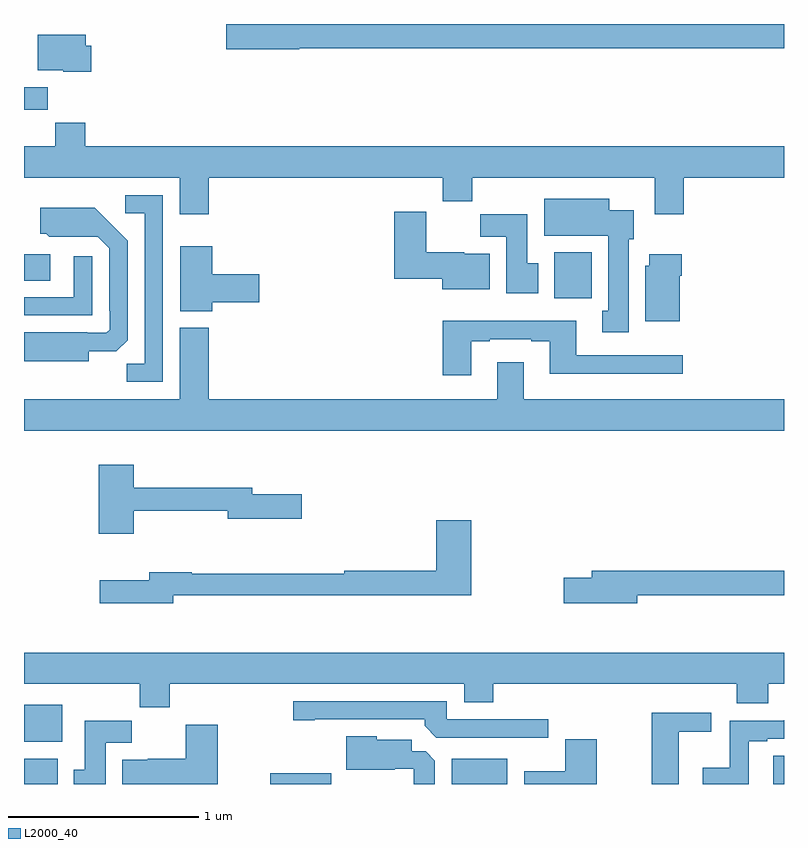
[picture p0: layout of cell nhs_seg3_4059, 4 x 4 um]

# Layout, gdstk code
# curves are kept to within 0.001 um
import gdstk
lib = gdstk.Library(unit=1e-6, precision=1e-09)
def R(c, l, rs):  # rectangles x0, y0, x1, y1
    for r in rs: c.add(gdstk.rectangle(r[:2], r[2:], *l))
def P(c, l, *ps):  # polygons
    for p in ps: c.add(gdstk.Polygon(p, *l))
L2000_40 = (2000, 40)

nhs_seg3_4059 = lib.new_cell('nhs_seg3_4059')
R(nhs_seg3_4059, L2000_40, [(325,688.4,325.177,688.534), (326.297,688.4,326.617,688.456), (327.251,688.4,327.544,688.534), (328.943,688.4,329,688.549), (325,688.622,325.201,688.816), (327.791,690.956,327.988,691.198), (325,691.048,325.138,691.188), (325,691.95,325.124,692.068)])
P(nhs_seg3_4059, L2000_40, [(326.448,692.272),(329,692.272),(329,692.4),(326.064,692.4),(326.064,692.267),(326.448,692.267)],
  [(325.355,692.286),(325.324,692.286),(325.324,692.344),(325.073,692.344),(325.073,692.156),(325.206,692.156),(325.206,692.15),(325.355,692.15)],
  [(325.973,691.592),(327.203,691.592),(327.203,691.468),(327.359,691.468),(327.359,691.592),(328.319,691.592),(328.319,691.398),(328.472,691.398),(328.472,691.592),(329,691.592),(329,691.756),(325.322,691.756),(325.322,691.88),(325.165,691.88),(325.165,691.756),(325,691.756),(325,691.592),(325.82,691.592),(325.82,691.398),(325.973,691.398)],
  [(325.731,691.5),(325.533,691.5),(325.533,691.404),(325.635,691.404),(325.635,690.611),(325.54,690.611),(325.54,690.516),(325.731,690.516)],
  [(328.183,691.266),(328.21,691.266),(328.21,691.42),(328.081,691.42),(328.081,691.48),(327.737,691.48),(327.737,691.286),(328.076,691.286),(328.076,690.89),(328.043,690.89),(328.043,690.777),(328.183,690.777)],
  [(325.342,690.677),(325.486,690.677),(325.545,690.736),(325.545,691.258),(325.373,691.432),(325.085,691.432),(325.085,691.296),(325.116,691.296),(325.132,691.28),(325.389,691.281),(325.449,691.221),(325.449,690.892),(325.452,690.892),(325.452,690.792),(325.434,690.774),(325.334,690.774),(325.334,690.778),(325,690.778),(325,690.626),(325.342,690.626)],
  [(327.451,691.192),(327.318,691.192),(327.318,691.198),(327.118,691.198),(327.118,691.411),(326.948,691.411),(326.948,691.058),(327.2,691.058),(327.2,691.004),(327.451,691.004)],
  [(327.706,691.14),(327.649,691.14),(327.649,691.398),(327.4,691.398),(327.4,691.28),(327.539,691.28),(327.539,690.984),(327.706,690.984)],
  [(325.99,690.935),(326.239,690.935),(326.239,691.082),(325.99,691.082),(325.99,691.231),(325.823,691.231),(325.823,690.887),(325.99,690.887)],
  [(328.45,691.076),(328.463,691.076),(328.463,691.189),(328.292,691.189),(328.292,691.128),(328.271,691.128),(328.271,690.836),(328.45,690.836)],
  [(325.359,691.177),(325.263,691.177),(325.263,690.963),(325,690.963),(325,690.867),(325.359,690.867)],
  [(327.355,690.729),(327.451,690.729),(327.451,690.741),(327.671,690.741),(327.671,690.729),(327.767,690.729),(327.767,690.56),(328.468,690.56),(328.468,690.657),(327.907,690.657),(327.907,690.838),(327.203,690.838),(327.203,690.552),(327.355,690.552)],
  [(329,690.424),(327.631,690.424),(327.631,690.619),(327.491,690.619),(327.491,690.424),(325.973,690.424),(325.973,690.802),(325.82,690.802),(325.82,690.424),(325,690.424),(325,690.26),(329,690.26)],
  [(325.577,689.838),(326.072,689.838),(326.072,689.795),(326.461,689.795),(326.461,689.925),(326.2,689.925),(326.2,689.959),(325.577,689.959),(325.577,690.079),(325.394,690.079),(325.394,689.718),(325.577,689.718)],
  [(325.786,689.394),(327.353,689.394),(327.353,689.788),(327.17,689.788),(327.17,689.522),(326.686,689.522),(326.686,689.507),(325.882,689.507),(325.882,689.515),(325.658,689.515),(325.658,689.473),(325.398,689.473),(325.398,689.351),(325.786,689.351)],
  [(328.228,689.394),(329,689.394),(329,689.522),(327.989,689.522),(327.989,689.486),(327.84,689.486),(327.84,689.351),(328.228,689.351)],
  [(325.766,688.928),(327.317,688.928),(327.317,688.829),(327.47,688.829),(327.47,688.928),(328.751,688.928),(328.751,688.826),(328.916,688.826),(328.916,688.928),(329,688.928),(329,689.092),(325,689.092),(325,688.928),(325.609,688.928),(325.609,688.804),(325.766,688.804)],
  [(327.76,688.74),(327.225,688.74),(327.225,688.836),(326.418,688.836),(326.418,688.735),(326.53,688.735),(326.53,688.74),(327.11,688.74),(327.11,688.706),(327.171,688.644),(327.76,688.644)],
  [(328.447,688.676),(328.618,688.676),(328.618,688.774),(328.303,688.774),(328.303,688.4),(328.447,688.4)],
  [(328.815,688.626),(328.912,688.626),(328.912,688.638),(329,688.638),(329,688.736),(328.999,688.736),(328.999,688.734),(328.714,688.734),(328.714,688.486),(328.572,688.486),(328.572,688.4),(328.815,688.4)],
  [(325.429,688.616),(325.568,688.616),(325.568,688.734),(325.319,688.734),(325.319,688.476),(325.262,688.476),(325.262,688.4),(325.429,688.4)],
  [(326.021,688.711),(325.85,688.711),(325.85,688.534),(325.65,688.534),(325.65,688.528),(325.517,688.528),(325.517,688.4),(326.021,688.4)],
  [(327.163,688.523),(327.114,688.572),(327.04,688.572),(327.04,688.633),(326.856,688.633),(326.856,688.651),(326.696,688.651),(326.696,688.475),(326.951,688.475),(326.951,688.479),(327.051,688.479),(327.051,688.4),(327.163,688.4)],
  [(328.014,688.636),(327.848,688.636),(327.848,688.468),(327.632,688.468),(327.632,688.4),(328.014,688.4)])

lib.write_gds('nhs_seg3_4059.gds')
